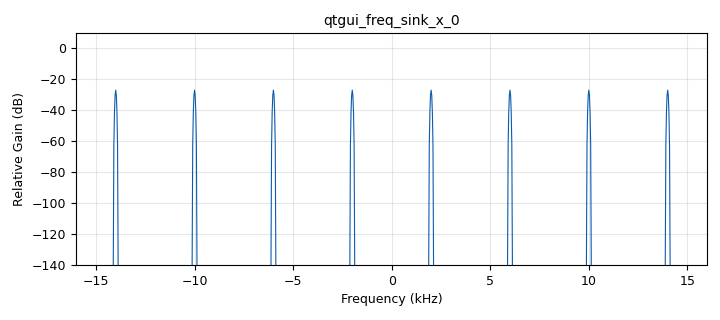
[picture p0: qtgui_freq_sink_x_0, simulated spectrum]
options:
  parameters:
    generate_options: qt_gui
    id: defaultf
    output_language: python
    title: Not titled yet
  states: {}

blocks:
- name: samp_rate
  id: variable
  parameters:
    value: '32000'
  states: {}
- name: analog_sig_source_x_0
  id: analog_sig_source_x
  parameters:
    amp: '1'
    freq: '1000'
    offset: '0'
    phase: '0'
    samp_rate: samp_rate
    type: short
    waveform: analog.GR_COS_WAVE
  states: {}
- name: blocks_interleaved_short_to_complex_0
  id: blocks_interleaved_short_to_complex
  parameters:
    vector_input: 'False'
  states: {}
- name: qtgui_freq_sink_x_0
  id: qtgui_freq_sink_x
  parameters:
    bw: samp_rate
    fc: '0'
    fftsize: '1024'
    type: complex
    wintype: firdes.WIN_BLACKMAN_hARRIS
  states: {}

connections:
- [analog_sig_source_x_0, '0', blocks_interleaved_short_to_complex_0, '0']
- [blocks_interleaved_short_to_complex_0, '0', qtgui_freq_sink_x_0, '0']

metadata:
  file_format: 1
